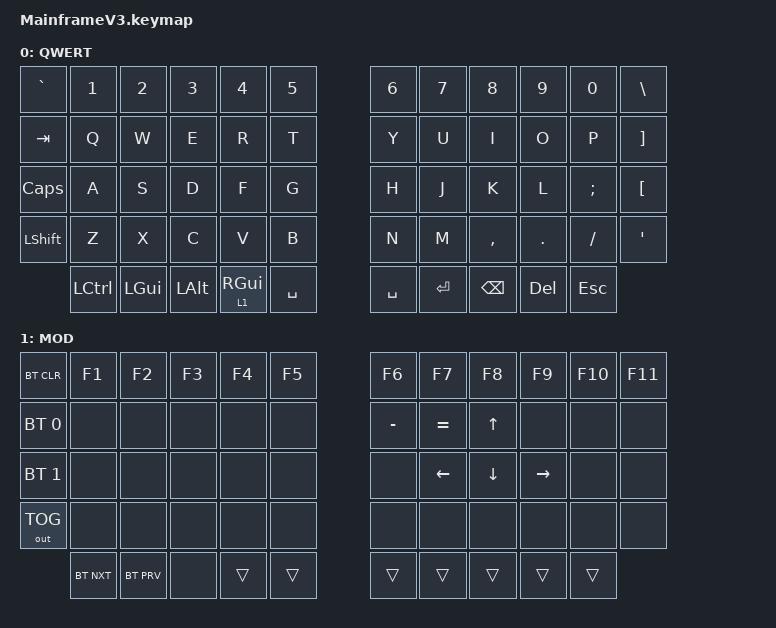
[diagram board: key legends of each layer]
#include <behaviors.dtsi>
#include <dt-bindings/zmk/bt.h>
#include <dt-bindings/zmk/keys.h>
#include <dt-bindings/zmk/outputs.h>
#include <dt-bindings/zmk/ext_power.h>

/ {

    behaviors {
        lthp: layer_tap_hold_preferred {
            compatible = "zmk,behavior-hold-tap";
            #binding-cells = <2>;
            flavor = "hold-preferred";
            tapping-term-ms = <200>;
            bindings = <&mo>, <&kp>;
        };
    };

    keymap {
        compatible = "zmk,keymap";

        default_layer {
            display-name = "QWERT";
            bindings = <
      &kp GRAVE  &kp N1     &kp N2   &kp N3    &kp N4      &kp N5                   &kp N6     &kp N7     &kp N8     &kp N9   &kp N0    &kp BSLH
      &kp TAB    &kp Q      &kp W    &kp E     &kp R       &kp T                    &kp Y      &kp U      &kp I      &kp O    &kp P     &kp RBKT
      &kp CAPS   &kp A      &kp S    &kp D     &kp F       &kp G                    &kp H      &kp J      &kp K      &kp L    &kp SEMI  &kp LBKT
      &kp LSHFT  &kp Z      &kp X    &kp C     &kp V       &kp B                    &kp N      &kp M      &kp COMMA  &kp DOT  &kp FSLH  &kp APOS
                 &kp LCTRL  &kp LGUI &kp LALT  &lthp 1 RGUI  &kp SPACE                &kp SPACE  &kp ENTER  &kp BSPC   &kp DEL  &kp ESC
            >;
        };

        mod_layer {
            display-name = "MOD";
            bindings = <
      &bt BT_CLR    &kp F1      &kp F2      &kp F3  &kp F4  &kp F5                  &kp F6     &kp F7     &kp F8    &kp F9     &kp F10  &kp F11
      &bt BT_SEL 0  &none       &none       &none   &none   &none                   &kp MINUS  &kp EQUAL  &kp UP    &none      &none    &none
      &bt BT_SEL 1  &none       &none       &none   &none   &none                   &none      &kp LEFT   &kp DOWN  &kp RIGHT  &none    &none
      &out OUT_TOG  &none       &none       &none   &none   &none                   &none      &none      &none     &none      &none    &none
                    &bt BT_NXT  &bt BT_PRV  &none   &trans  &trans                  &trans     &trans     &trans    &trans     &trans
            >;
        };
    };
};
